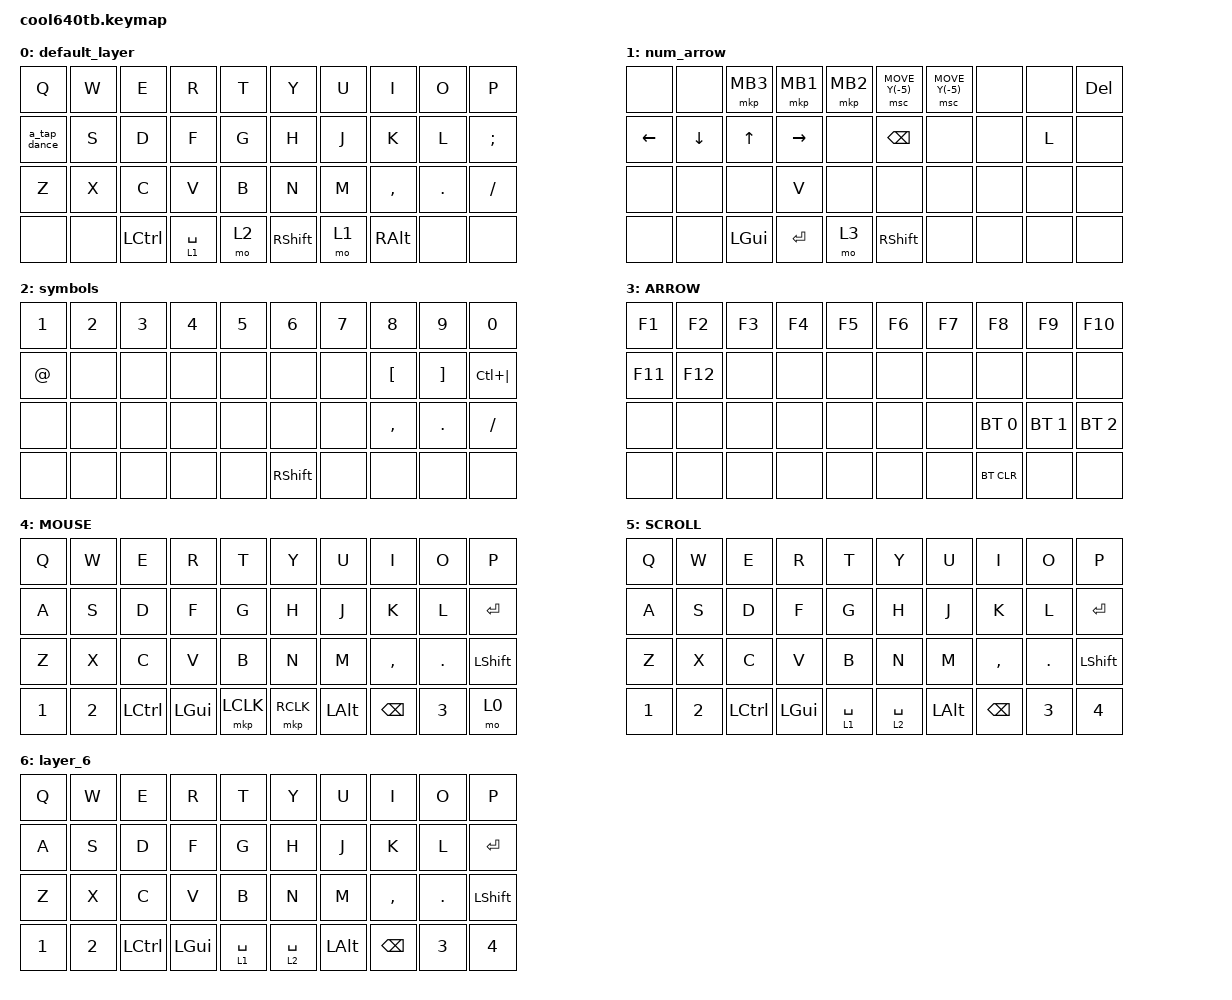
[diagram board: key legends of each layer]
// #define ZMK_POINTING_DEFAULT_MOVE_VAL 800 
// #define ZMK_POINTING_DEFAULT_SCRL_VAL 120

#include <behaviors.dtsi>
#include <dt-bindings/zmk/bt.h>
#include <dt-bindings/zmk/keys.h>
#include <dt-bindings/zmk/pointing.h>

// #include <dt-bindings/zmk/pointing.h>

#define MOUSE 4
#define SCROLL 5
#define NUM 6

&mt {
    flavor = "balanced";
    quick-tap-ms = <0>;
};

/ {
    combos {
        compatible = "zmk,combos";

        tab {
            bindings = <&kp TAB>;
            key-positions = <0 1>;
            layers = <0>;
        };

        minus {
            bindings = <&kp MINUS>;
            key-positions = <8 9>;
            layers = <0>;
        };

        esc {
            bindings = <&kp ESCAPE>;
            key-positions = <0 1 2>;
            layers = <0>;
        };

        colon {
            bindings = <&kp LS(SEMICOLON)>;
            key-positions = <19 18>;
            layers = <0>;
        };

        lang2 {
            bindings = <&kp LANG_HANJA>;
            key-positions = <13 12>;
        };

        lang1 {
            bindings = <&kp LANG1>;
            key-positions = <16 17>;
        };

        backsrash {
            bindings = <&kp BACKSLASH>;
            key-positions = <28 29>;
        };
    };

    macros {
        to_layer_0: to_layer_0 {
            compatible = "zmk,behavior-macro-one-param";
            #binding-cells = <1>;
            bindings = <&to 0 &macro_param_1to1 &kp MACRO_PLACEHOLDER>;
            label = "TO_LAYER_0";
        };
    };

    behaviors {
        a_tap_dance: new_behavior {
            compatible = "zmk,behavior-tap-dance";
            label = "a_tap_dance";
            #binding-cells = <0>;
            bindings = <&kp A>, <&mt LEFT_CONTROL LC(A)>;

            tapping-term-ms = <200>;
        };
    };

    keymap {
        compatible = "zmk,keymap";

        default_layer {
            bindings = <
&kp Q         &kp W  &kp E      &kp R        &kp T  &kp Y            &kp U  &kp I          &kp O       &kp P
&a_tap_dance  &kp S  &kp D      &kp F        &kp G  &kp H            &kp J  &kp K          &kp L       &kp SEMICOLON
&kp Z         &kp X  &kp C      &kp V        &kp B  &kp N            &kp M  &kp COMMA      &kp PERIOD  &kp SLASH
&none         &none  &kp LCTRL  &lt 1 SPACE  &mo 2  &kp RIGHT_SHIFT  &mo 1  &kp RIGHT_ALT  &none       &none
            >;
        };

        num_arrow {
            bindings = <
&none     &none     &mkp MB3      &mkp MB1   &mkp MB2  &msc MOVE_Y(-5)  &msc MOVE_Y(-5)  &none  &none  &kp DELETE
&kp LEFT  &kp DOWN  &kp UP_ARROW  &kp RIGHT  &none     &kp BACKSPACE    &none            &none  &kp L  &none
&none     &none     &none         &kp V      &none     &none            &none            &none  &none  &none
&none     &none     &kp LEFT_GUI  &kp ENTER  &mo 3     &kp RIGHT_SHIFT  &none            &none  &none  &none
            >;
        };

        symbols {
            bindings = <
&kp NUMBER_1  &kp NUMBER_2  &kp NUMBER_3  &kp NUMBER_4  &kp N5  &kp NUMBER_6     &kp NUMBER_7  &kp NUMBER_8      &kp NUMBER_9       &kp NUMBER_0
&kp AT_SIGN   &none         &none         &none         &none   &none            &none         &kp LEFT_BRACKET  &kp RIGHT_BRACKET  &kp LC(PIPE)
&none         &none         &none         &none         &none   &none            &none         &kp COMMA         &kp PERIOD         &kp SLASH
&none         &none         &none         &none         &none   &kp RIGHT_SHIFT  &none         &none             &none              &none
            >;
        };

        ARROW {
            bindings = <
&kp F1   &kp F2   &kp F3  &kp F4  &kp F5  &kp F6  &kp F7  &kp F8        &kp F9        &kp F10
&kp F11  &kp F12  &none   &none   &none   &none   &none   &none         &none         &none
&none    &none    &none   &none   &none   &none   &none   &bt BT_SEL 0  &bt BT_SEL 1  &bt BT_SEL 2
&none    &none    &none   &none   &none   &none   &none   &bt BT_CLR    &none         &none
            >;
        };

        MOUSE {
            bindings = <
&kp Q   &kp W   &kp E             &kp R         &kp T      &kp Y      &kp U         &kp I          &kp O       &kp P
&kp A   &kp S   &kp D             &kp F         &kp G      &kp H      &kp J         &kp K          &kp L       &kp ENTER
&kp Z   &kp X   &kp C             &kp V         &kp B      &kp N      &kp M         &kp COMMA      &kp PERIOD  &kp LEFT_SHIFT
&kp N1  &kp N2  &kp LEFT_CONTROL  &kp LEFT_GUI  &mkp LCLK  &mkp RCLK  &kp LEFT_ALT  &kp BACKSPACE  &kp N3      &mo 0
            >;
        };

        SCROLL {
            bindings = <
&kp Q   &kp W   &kp E             &kp R         &kp T        &kp Y        &kp U         &kp I          &kp O       &kp P
&kp A   &kp S   &kp D             &kp F         &kp G        &kp H        &kp J         &kp K          &kp L       &kp ENTER
&kp Z   &kp X   &kp C             &kp V         &kp B        &kp N        &kp M         &kp COMMA      &kp PERIOD  &kp LEFT_SHIFT
&kp N1  &kp N2  &kp LEFT_CONTROL  &kp LEFT_GUI  &lt 1 SPACE  &lt 2 SPACE  &kp LEFT_ALT  &kp BACKSPACE  &kp N3      &kp N4
            >;
        };

        layer_6 {
            bindings = <
&kp Q   &kp W   &kp E             &kp R         &kp T        &kp Y        &kp U         &kp I          &kp O       &kp P
&kp A   &kp S   &kp D             &kp F         &kp G        &kp H        &kp J         &kp K          &kp L       &kp ENTER
&kp Z   &kp X   &kp C             &kp V         &kp B        &kp N        &kp M         &kp COMMA      &kp PERIOD  &kp LEFT_SHIFT
&kp N1  &kp N2  &kp LEFT_CONTROL  &kp LEFT_GUI  &lt 1 SPACE  &lt 2 SPACE  &kp LEFT_ALT  &kp BACKSPACE  &kp N3      &kp N4
            >;
        };
    };
};
